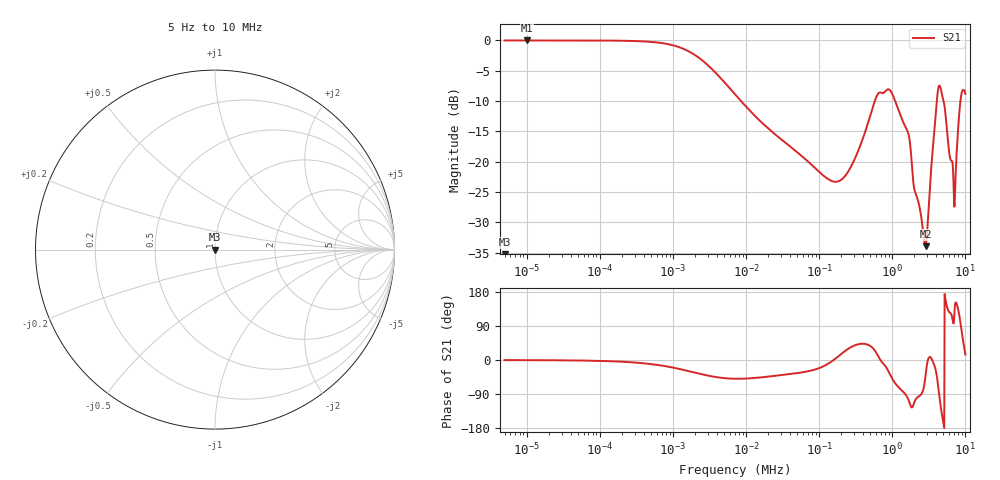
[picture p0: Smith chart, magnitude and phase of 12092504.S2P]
!Agilent Technologies,E5061B,MY49204007,A.02.12
!Date: Fri Sep 12 09:35:53 2025
!Data & Calibration Information:
!Freq	S11:SOLT2(OFF)	S21:SOLT2(OFF)	S12:SOLT2(OFF)	S22:SOLT2(OFF)
# Hz S dB R 50
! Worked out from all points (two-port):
!   1041 points, 5 Hz to 10 MHz, reference 50 ohm
!   highest |S21| = -0.05 dB at 10.12 Hz (marker M1); lowest = -33.9 dB at 2.862 MHz (marker M2)
!   |S21| within 3 dB of the highest: start of sweep to 2.358 kHz
!   lowest |S11| = - dB at 5 Hz (marker M3), VSWR 1.00, Z = 50 + j0 ohm
!   |S11| at or under -10 dB: start of sweep to end of sweep
!   S12 and S22 are empty: the file has one direction only
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5  -200.00 0.0  -0.05 -0.3  -200.00 0.0  -200.00 0.0
10.119  -200.00 0.0  -0.05 -0.4  -200.00 0.0  -200.00 0.0
56.522  -200.00 0.0  -0.06 -1.4  -200.00 0.0  -200.00 0.0
632.897  -200.00 0.0  -0.40 -13.3  -200.00 0.0  -200.00 0.0
2229.669  -200.00 0.0  -2.83 -35.5  -200.00 0.0  -200.00 0.0
7154.49  -200.00 0.0  -8.97 -49.5  -200.00 0.0  -200.00 0.0
80111.67  -200.00 0.0  -20.57 -27.3  -200.00 0.0  -200.00 0.0
216671.6  -200.00 0.0  -22.61 21.0  -200.00 0.0  -200.00 0.0
542681.8  -200.00 0.0  -11.04 31.4  -200.00 0.0  -200.00 0.0
893075.1  -200.00 0.0  -8.09 -31.1  -200.00 0.0  -200.00 0.0
1649002  -200.00 0.0  -15.27 -103.0  -200.00 0.0  -200.00 0.0
2010257  -200.00 0.0  -24.61 -110.8  -200.00 0.0  -200.00 0.0
2861926  -200.00 0.0  -33.89 -39.0  -200.00 0.0  -200.00 0.0
3636709  -200.00 0.0  -17.04 -6.8  -200.00 0.0  -200.00 0.0
3999130  -200.00 0.0  -11.07 -34.3  -200.00 0.0  -200.00 0.0
4315301  -200.00 0.0  -7.62 -80.8  -200.00 0.0  -200.00 0.0
4947644  -200.00 0.0  -9.70 -160.4  -200.00 0.0  -200.00 0.0
5599234  -200.00 0.0  -14.79 140.7  -200.00 0.0  -200.00 0.0
6993744  -200.00 0.0  -26.32 104.9  -200.00 0.0  -200.00 0.0
7957789  -200.00 0.0  -14.50 133.8  -200.00 0.0  -200.00 0.0
8678570  -200.00 0.0  -9.41 90.1  -200.00 0.0  -200.00 0.0
1e7  -200.00 0.0  -8.85 14.3  -200.00 0.0  -200.00 0.0
